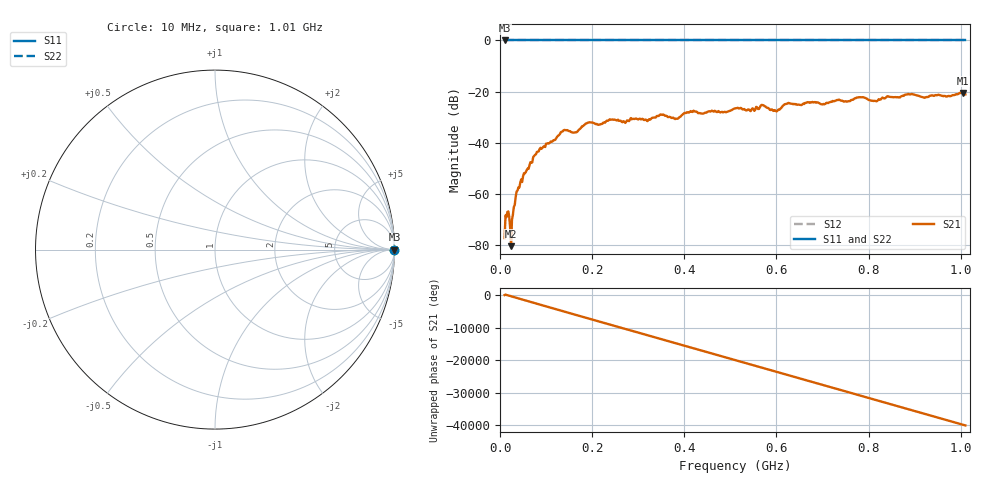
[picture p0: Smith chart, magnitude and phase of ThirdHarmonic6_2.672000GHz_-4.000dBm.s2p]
! 8/17/2025 6:13:26 AM
! C:\ANRITSUVNA\TEMP\TEMP.S2P
! CHANNEL.1
! TR.MEASUREMENT
! RAW.DATA
! RF.CORRECTION.OFF
! AVERAGING.OFF
! IF.BANDWIDTH: 5KHZ
! SWEEPTYPE:  FREQ.SWEEP(Linear)
! Reference Plane Port Info
! PORT:  PORT1  PORT2
! DISTANCE:  0  m  0  m
! TIME:  0  s  0  s
! PHASE.OFFSET:  0  deg.  0  deg.
! LOSS:  0  dB  0  dB
! REF.LOSS:  0  dB  0  dB
! REF.FREQ:  0  Hz  0  Hz
! Power Info
! POWER:  -20  dBm  -20  dBm
! EFF.POWER:  -20  dBm  -20  dBm
! SOURCE.ATTEN:  0  dB  0  dB
! TEST.ATTEN:  0  dB  0  dB
# GHZ S RI R 50.0
! FREQ.GHZ  S11RE  S11IM  S21RE  S21IM  S12RE  S12IM  S22RE  S22IM
!; PortSelection: Port_12
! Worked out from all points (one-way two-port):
!   501 points, 10 MHz to 1.01 GHz, reference 50 ohm
!   highest |S21| = -20.51 dB at 1.004 GHz (marker M1); lowest = -80.5 dB at 24 MHz (marker M2)
!   lowest |S11| = 0.0 dB at 10 MHz (marker M3)
!   |S11| at or under -10 dB: nowhere
!   |S22| runs from 0.0 to 0.0 dB; largest |S21 - S12| = 1.1
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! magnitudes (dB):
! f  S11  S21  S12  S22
! 10 MHz  0.0  -77.4  0.0  0.0
! 16 MHz  0.0  -67.1  0.0  0.0
! 24 MHz  0.0  -80.5  0.0  0.0
! 28 MHz  0.0  -68.2  0.0  0.0
! 34 MHz  0.0  -61.3  0.0  0.0
! 40 MHz  0.0  -57.5  0.0  0.0
! 76 MHz  0.0  -44.8  0.0  0.0
! 136 MHz  0.0  -35.6  0.0  0.0
! 164 MHz  0.0  -36.0  0.0  0.0
! 178 MHz  0.0  -33.6  0.0  0.0
! 344 MHz  0.0  -29.6  0.0  0.0
! 382 MHz  0.0  -30.6  0.0  0.0
! 416 MHz  0.0  -27.9  0.0  0.0
! 510 MHz  0.0  -26.6  0.0  0.0
! 570 MHz  0.0  -25.3  0.0  0.0
! 598 MHz  0.0  -27.4  0.0  0.0
! 624 MHz  0.0  -24.7  0.0  0.0
! 678 MHz  0.0  -24.1  0.0  0.0
! 814 MHz  0.0  -23.6  0.0  0.0
! 844 MHz  0.0  -22.0  0.0  0.0
! 1.004 GHz  0.0  -20.5  0.0  0.0
! 1.01 GHz  0.0  -21.1  0.0  0.0
